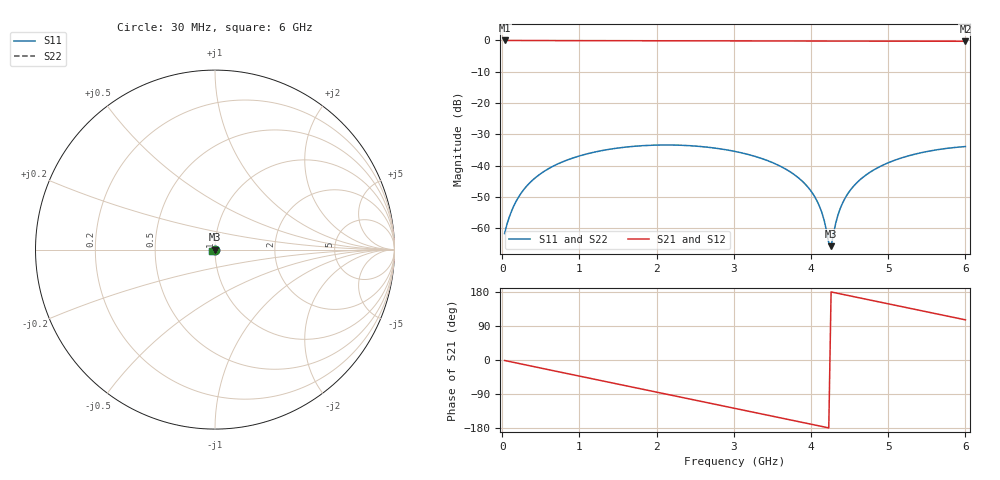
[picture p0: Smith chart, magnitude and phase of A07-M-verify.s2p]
! yapnr Order 0 O0-M: O0-M A07 M VER21 (verify, family M)
! stackup OSHPARK-4L-EM528, nominal parameters; geometry of the OSHPARK-4L-FR408HR design
! model: 2D quasi-static RLGC (Djordjevic-Sarkar, Huray roughness, Wheeler loss); generated by python -m yapnr.rf.coupons expected --stackup OSHPARK-4L-FR408HR --upload M
! reference planes 10 mm from each end; 50 ohm (from the M line's Zc)
# GHz S DB R 50
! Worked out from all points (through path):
!   200 points, 30 MHz to 6 GHz, reference 50 ohm
!   highest |S21| = -0.01 dB at 30 MHz (marker M1); lowest = -0.3 dB at 6 GHz (marker M2)
!   group delay of S21, straight-line fit = 118 ps
!   lowest |S11| = -65.7 dB at 4.26 GHz (marker M3), VSWR 1.00, Z = 50 - j0.0223 ohm
!   |S11| at or under -10 dB: start of sweep to end of sweep
!   |S22| runs from -65.7 to -33.4 dB; largest |S21 - S12| = 0
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0.03  -61.66 5.6  -0.01 -1.3  -0.01 -1.3  -61.66 5.6
0.15  -52.81 -47.2  -0.02 -6.5  -0.02 -6.5  -52.81 -47.2
0.36  -45.37 -76.7  -0.03 -15.4  -0.03 -15.4  -45.37 -76.7
0.66  -40.15 -98.1  -0.05 -28.1  -0.05 -28.1  -40.15 -98.1
1.05  -36.53 -119.1  -0.07 -44.7  -0.07 -44.7  -36.53 -119.1
1.56  -34.17 -143.4  -0.09 -66.3  -0.09 -66.3  -34.17 -143.4
2.04  -33.40 -165.2  -0.11 -86.6  -0.11 -86.6  -33.40 -165.2
2.52  -33.77 173.8  -0.14 -106.9  -0.14 -106.9  -33.77 173.8
3.03  -35.52 151.9  -0.16 -128.4  -0.16 -128.4  -35.52 151.9
3.66  -40.92 126.2  -0.18 -155.1  -0.18 -155.1  -40.92 126.2
3.87  -44.58 118.8  -0.19 -163.9  -0.19 -163.9  -44.58 118.8
4.02  -48.82 115.4  -0.19 -170.3  -0.19 -170.3  -48.82 115.4
4.14  -54.96 118.5  -0.20 -175.3  -0.20 -175.3  -54.96 118.5
4.23  -64.71 156.6  -0.20 -179.2  -0.20 -179.2  -64.71 156.6
4.26  -65.70 -154.5  -0.20 179.6  -0.20 179.6  -65.70 -154.5
4.35  -55.67 -103.9  -0.21 175.8  -0.21 175.8  -55.67 -103.9
4.41  -51.86 -100.2  -0.21 173.2  -0.21 173.2  -51.86 -100.2
4.5  -48.12 -100.1  -0.21 169.4  -0.21 169.4  -48.12 -100.1
4.71  -43.01 -105.8  -0.22 160.5  -0.22 160.5  -43.01 -105.8
5.01  -38.97 -117.0  -0.23 147.8  -0.23 147.8  -38.97 -117.0
5.52  -35.39 -137.7  -0.25 126.3  -0.25 126.3  -35.39 -137.7
6  -33.89 -157.6  -0.27 106.0  -0.27 106.0  -33.89 -157.6
